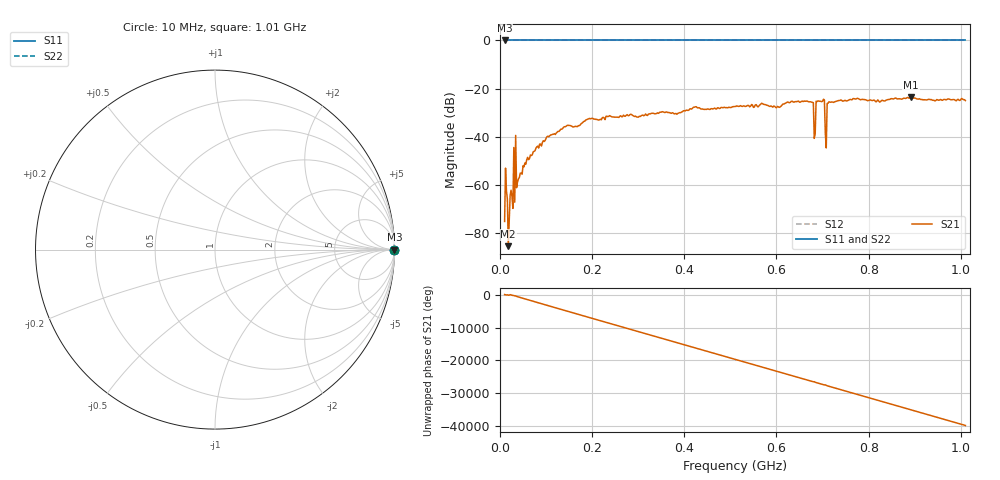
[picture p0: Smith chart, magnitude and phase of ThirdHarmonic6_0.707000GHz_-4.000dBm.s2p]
! 8/15/2025 11:37:11 PM
! C:\ANRITSUVNA\TEMP\TEMP.S2P
! CHANNEL.1
! TR.MEASUREMENT
! RAW.DATA
! RF.CORRECTION.OFF
! AVERAGING.OFF
! IF.BANDWIDTH: 5KHZ
! SWEEPTYPE:  FREQ.SWEEP(Linear)
! Reference Plane Port Info
! PORT:  PORT1  PORT2
! DISTANCE:  0  m  0  m
! TIME:  0  s  0  s
! PHASE.OFFSET:  0  deg.  0  deg.
! LOSS:  0  dB  0  dB
! REF.LOSS:  0  dB  0  dB
! REF.FREQ:  0  Hz  0  Hz
! Power Info
! POWER:  -20  dBm  -20  dBm
! EFF.POWER:  -20  dBm  -20  dBm
! SOURCE.ATTEN:  0  dB  0  dB
! TEST.ATTEN:  0  dB  0  dB
# GHZ S RI R 50.0
! FREQ.GHZ  S11RE  S11IM  S21RE  S21IM  S12RE  S12IM  S22RE  S22IM
!; PortSelection: Port_12
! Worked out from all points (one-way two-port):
!   501 points, 10 MHz to 1.01 GHz, reference 50 ohm
!   highest |S21| = -23.52 dB at 892 MHz (marker M1); lowest = -85.3 dB at 18 MHz (marker M2)
!   lowest |S11| = 0.0 dB at 10 MHz (marker M3)
!   |S11| at or under -10 dB: nowhere
!   |S22| runs from 0.0 to 0.0 dB; largest |S21 - S12| = 1.1
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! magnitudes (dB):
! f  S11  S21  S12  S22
! 10 MHz  0.0  -75.0  0.0  0.0
! 18 MHz  0.0  -85.3  0.0  0.0
! 22 MHz  0.0  -64.3  0.0  0.0
! 26 MHz  0.0  -64.7  0.0  0.0
! 34 MHz  0.0  -39.4  0.0  0.0
! 40 MHz  0.0  -57.4  0.0  0.0
! 62 MHz  0.0  -49.4  0.0  0.0
! 106 MHz  0.0  -39.9  0.0  0.0
! 178 MHz  0.0  -34.3  0.0  0.0
! 344 MHz  0.0  -30.2  0.0  0.0
! 510 MHz  0.0  -27.4  0.0  0.0
! 664 MHz  0.0  -25.2  0.0  0.0
! 678 MHz  0.0  -25.7  0.0  0.0
! 686 MHz  0.0  -25.2  0.0  0.0
! 690 MHz  0.0  -25.1  0.0  0.0
! 700 MHz  0.0  -25.2  0.0  0.0
! 704 MHz  0.0  -24.6  0.0  0.0
! 710 MHz  0.0  -26.1  0.0  0.0
! 716 MHz  0.0  -25.5  0.0  0.0
! 844 MHz  0.0  -24.5  0.0  0.0
! 892 MHz  0.0  -23.5  0.0  0.0
! 1.01 GHz  0.0  -24.9  0.0  0.0
